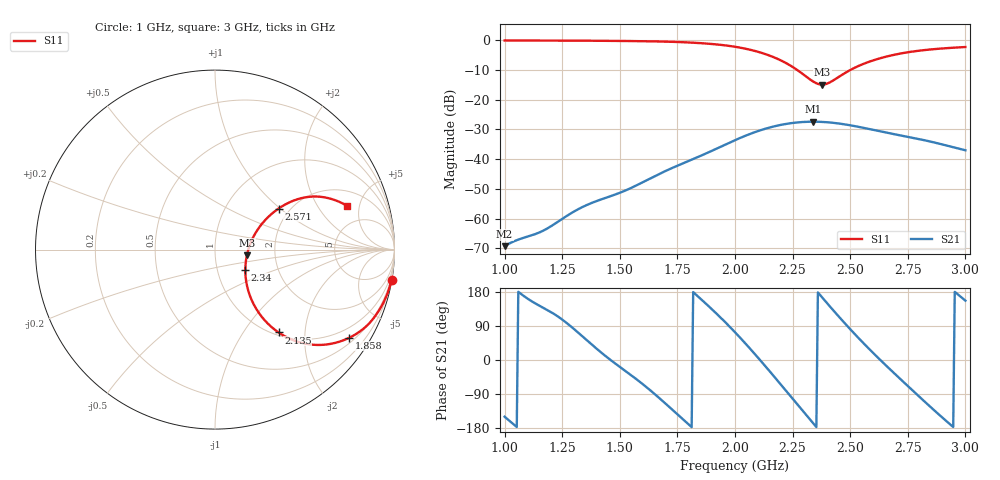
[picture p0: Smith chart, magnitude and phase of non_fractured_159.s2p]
! TOUCHSTONE file generated by CST MICROWAVE STUDIO
! Date and time: Sat Mar  8 13:55:07 2025
! Project name: non_fractured.cst
! Parameters = {B=2.5; D=160; F=25; Feed=2.85625; L=100; M=10; R=0.384908; S=2.5; Theta=180; length=57.125; wave=114.25}
! Header version: 2024
! Port assignment regex: !\s*Touchstone port\s*([0-9]+)\s*=\s*(CST MWS port|CST DES external port|CST DES block port)\s*(.+)\s* \(\"(.*)\"\)(\s*mode\s*([0-9]+))?.*
! Touchstone port assignment:
! Touchstone port 1 = CST MWS port 1 ("")
! Touchstone port 2 = CST MWS port 2 ("")
# GHz S DB R 50
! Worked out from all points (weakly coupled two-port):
!   304 points, 1 GHz to 3 GHz, reference 50 ohm
!   highest |S21| = -27.38 dB at 2.34 GHz (marker M1); lowest = -69.3 dB at 1 GHz (marker M2)
!   lowest |S11| = -14.9 dB at 2.38 GHz (marker M3), VSWR 1.44, Z = 71.4 - j4.75 ohm
!   |S11| at or under -10 dB: 2.271 GHz to 2.5 GHz (229 MHz wide, 9.6 % of centre)
!   S12 and S22 are empty: the file has one direction only
!   S11 on the Smith chart (normalised r, x): 1 GHz: 0, -12; 1.858 GHz: 0.65, -3.23; 2.135 GHz: 1.05, -1.47; 2.34 GHz: 1.36, -0.32; 2.571 GHz: 1.75, +0.97; 3 GHz: 3.08, +3.75
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1  -0.02 -9.7  -69.32 -149.7  -200.00 0.0  -200.00 0.0
1.0462  -0.03 -10.4  -67.49 -173.6  -200.00 0.0  -200.00 0.0
1.16502  -0.04 -12.1  -64.19 138.8  -200.00 0.0  -200.00 0.0
1.33663  -0.09 -15.1  -56.18 63.0  -200.00 0.0  -200.00 0.0
1.52805  -0.20 -19.6  -50.44 -30.7  -200.00 0.0  -200.00 0.0
1.66667  -0.36 -24.1  -45.16 -97.9  -200.00 0.0  -200.00 0.0
1.76568  -0.58 -28.3  -41.69 -151.8  -200.00 0.0  -200.00 0.0
1.85809  -0.96 -33.2  -38.64 157.4  -200.00 0.0  -200.00 0.0
2.0033  -2.18 -43.1  -33.50 71.2  -200.00 0.0  -200.00 0.0
2.06931  -3.21 -48.1  -31.39 27.3  -200.00 0.0  -200.00 0.0
2.13531  -4.70 -52.5  -29.67 -18.9  -200.00 0.0  -200.00 0.0
2.23432  -8.20 -55.0  -27.98 -90.5  -200.00 0.0  -200.00 0.0
2.28713  -10.91 -50.1  -27.53 -129.1  -200.00 0.0  -200.00 0.0
2.33993  -13.89 -33.3  -27.38 -167.5  -200.00 0.0  -200.00 0.0
2.35974  -14.64 -22.6  -27.41 178.3  -200.00 0.0  -200.00 0.0
2.37954  -14.89 -10.3  -27.47 164.1  -200.00 0.0  -200.00 0.0
2.41254  -14.10 8.4  -27.66 140.9  -200.00 0.0  -200.00 0.0
2.47195  -11.24 26.5  -28.23 100.0  -200.00 0.0  -200.00 0.0
2.57096  -7.50 32.8  -29.66 36.1  -200.00 0.0  -200.00 0.0
2.66997  -5.21 31.1  -31.26 -22.9  -200.00 0.0  -200.00 0.0
2.82838  -3.21 24.6  -33.73 -112.7  -200.00 0.0  -200.00 0.0
3  -2.23 18.4  -37.01 156.7  -200.00 0.0  -200.00 0.0
